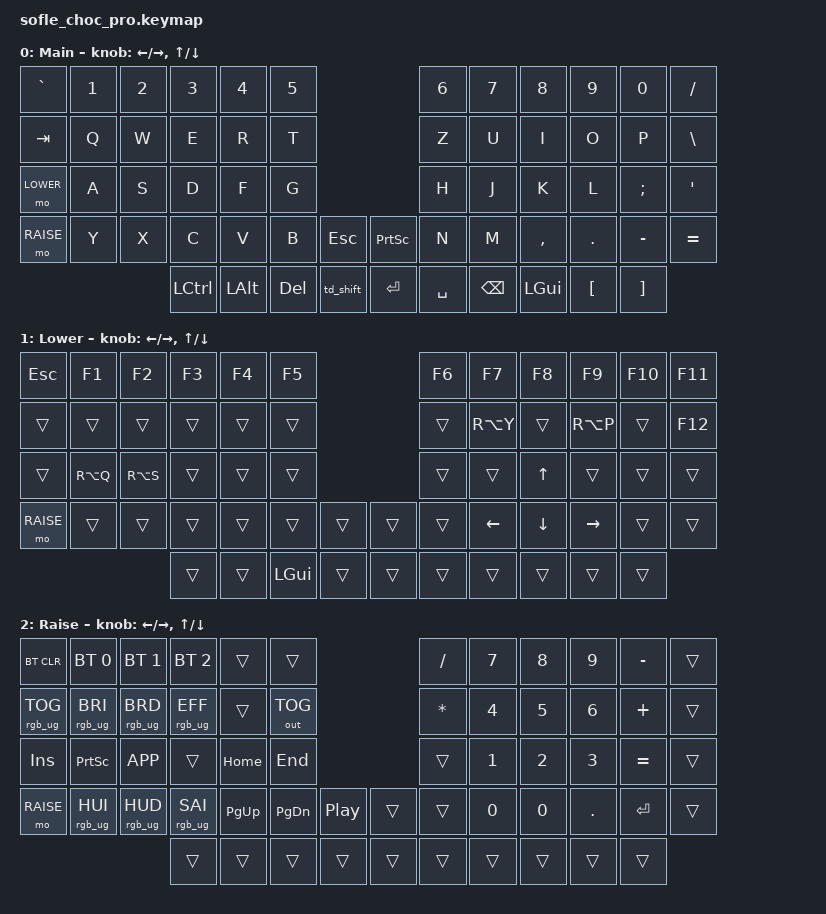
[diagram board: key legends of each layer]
/*
 * Sofle Choc — QWERTZ keymap for nice!nano v2
 *
 * Layers:
 *   0: DEFAULT — QWERTZ base with US-International for umlauts
 *   1: LOWER   — F-keys, umlauts (ä ö ü ß), arrow keys
 *   2: RAISE   — Bluetooth, system controls, numpad
 *
 * Build:
 *   nix develop /home/leon/nix#zmk
 *   cd ~/nix/zmk-config && west init -l config && west update
 *   west build -s zmk/app -b nice_nano_v2 -- -DSHIELD=sofle_left  -DZMK_CONFIG="$(pwd)/config"
 *   west build -p -s zmk/app -b nice_nano_v2 -- -DSHIELD=sofle_right -DZMK_CONFIG="$(pwd)/config"
 */

#include <behaviors.dtsi>
#include <dt-bindings/zmk/keys.h>
#include <dt-bindings/zmk/bt.h>
#include <dt-bindings/zmk/outputs.h>
#include <dt-bindings/zmk/rgb.h>

#define DEFAULT 0
#define LOWER   1
#define RAISE   2

/ {
    behaviors {
        td_shift: td_shift {
            compatible = "zmk,behavior-tap-dance";
            #binding-cells = <0>;
            tapping-term-ms = <200>;
            bindings = <&sk LSHFT>, <&caps_word>;
        };
    };

    keymap {
        compatible = "zmk,keymap";

        default_layer {
            display-name = "Main";
            // ┌──────┬──────┬──────┬──────┬──────┬──────┐                     ┌──────┬──────┬──────┬──────┬──────┬──────┐
            // │  `   │  1   │  2   │  3   │  4   │  5   │                     │  6   │  7   │  8   │  9   │  0   │  -   │
            // ├──────┼──────┼──────┼──────┼──────┼──────┤                     ├──────┼──────┼──────┼──────┼──────┼──────┤
            // │ TAB  │  Q   │  W   │  E   │  R   │  T   │                     │  Z   │  U   │  I   │  O   │  P   │  =   │
            // ├──────┼──────┼──────┼──────┼──────┼──────┤                     ├──────┼──────┼──────┼──────┼──────┼──────┤
            // │LOWER │  A   │  S   │  D   │  F   │  G   │                     │  H   │  J   │  K   │  L   │  ;   │  '   │
            // ├──────┼──────┼──────┼──────┼──────┼──────┼──────┐       ┌──────┼──────┼──────┼──────┼──────┼──────┼──────┤
            // │RAISE │  Y   │  X   │  C   │  V   │  B   │ ESC  │       │PSCRN │  N   │  M   │  ,   │  .   │  /   │  \   │
            // └──────┴──────┴──────┼──────┼──────┼──────┼──────┼────┤  ├────┼──────┼──────┼──────┼──────┼──────┴──────┘
            //                      │LCTRL │ LALT │ DEL  │SHIFT │ ENT│  │SPC │ BSPC │SUPER │  [   │  ]   │
            //                      └──────┴──────┴──────┴──────┴────┘  └────┴──────┴──────┴──────┴──────┘
            //
            // Shift: tap = sticky shift, double tap = caps word, hold = shift
            // Encoders: L rotate = ←/→, L press = ESC | R rotate = ↑/↓, R press = PrtSc
            bindings = <
                &kp GRAVE  &kp N1 &kp N2 &kp N3    &kp N4   &kp N5                             &kp N6    &kp N7   &kp N8    &kp N9   &kp N0   &kp FSLH
                &kp TAB    &kp Q  &kp W  &kp E     &kp R    &kp T                              &kp Z     &kp U    &kp I     &kp O    &kp P    &kp BSLH
                &mo LOWER  &kp A  &kp S  &kp D     &kp F    &kp G                              &kp H     &kp J    &kp K     &kp L    &kp SEMI &kp SQT
                &mo RAISE  &kp Y  &kp X  &kp C     &kp V    &kp B    &kp ESC      &kp PSCRN    &kp N     &kp M    &kp COMMA &kp DOT  &kp MINUS &kp EQUAL
                                          &kp LCTRL &kp LALT &kp DEL  &td_shift    &kp RET      &kp SPACE &kp BSPC &kp LGUI  &kp LBKT &kp RBKT
            >;

            sensor-bindings = <&inc_dec_kp LEFT RIGHT &inc_dec_kp UP DOWN>;
        };

        lower_layer {
            display-name = "Lower";
            // ┌──────┬──────┬──────┬──────┬──────┬──────┐                  ┌──────┬──────┬──────┬──────┬──────┬──────┐
            // │ ESC  │  F1  │  F2  │  F3  │  F4  │  F5  │                  │  F6  │  F7  │  F8  │  F9  │ F10  │ F11  │
            // ├──────┼──────┼──────┼──────┼──────┼──────┤                  ├──────┼──────┼──────┼──────┼──────┼──────┤
            // │      │      │      │      │      │      │                  │      │  ü   │      │  ö   │      │      │
            // ├──────┼──────┼──────┼──────┼──────┼──────┤                  ├──────┼──────┼──────┼──────┼──────┼──────┤
            // │      │  ä   │  ß   │      │      │      │                  │      │      │  ↑   │      │      │      │
            // ├──────┼──────┼──────┼──────┼──────┼──────┼──────┐    ┌──────┼──────┼──────┼──────┼──────┼──────┼──────┤
            // │      │      │      │      │      │      │      │    │      │      │  ←   │  ↓   │  →   │      │      │
            // └──────┴──────┴──────┼──────┼──────┼──────┼──────┤    ├──────┼──────┼──────┼──────┼──────┴──────┴──────┘
            //                      │      │      │SUPER │      │    │      │      │      │      │      │      
            //                      └──────┴──────┴──────┴──────┘    └──────┴──────┴──────┴──────┴──────┘
            //
            // Umlauts via US-International: RALT+A=ä, RALT+S=ß, RALT+U=ü, RALT+O=ö
            // Encoders: same as default
            bindings = <
                &kp ESC &kp F1    &kp F2    &kp F3 &kp F4 &kp F5                         &kp F6 &kp F7    &kp F8   &kp F9    &kp F10   &kp F11
                &trans  &trans    &trans    &trans &trans &trans                            &trans &kp RA(Y) &trans   &kp RA(P) &trans    &kp F12
                &trans    &kp RA(Q) &kp RA(S) &trans &trans &trans                           &trans &trans    &kp UP   &trans    &trans    &trans
                &mo RAISE &trans    &trans    &trans &trans &trans  &trans       &trans        &trans &kp LEFT  &kp DOWN &kp RIGHT &trans    &trans
                                             &trans &trans &kp LGUI &trans       &trans        &trans &trans    &trans   &trans    &trans
            >;

            sensor-bindings = <&inc_dec_kp LEFT RIGHT &inc_dec_kp UP DOWN>;
        };

        raise_layer {
            display-name = "Raise";
            // ┌──────┬──────┬──────┬──────┬──────┬──────┐                    ┌──────┬──────┬──────┬──────┬──────┬──────┐
            // │BT CLR│ BT 0 │ BT 1 │ BT 2 │ BT 3 │ BT 4│                    │  /   │  7   │  8   │  9   │  -   │      │
            // ├──────┼──────┼──────┼──────┼──────┼──────┤                    ├──────┼──────┼──────┼──────┼──────┼──────┤
            // │      │      │      │      │      │O_TOG │                    │  *   │  4   │  5   │  6   │  +   │      │
            // ├──────┼──────┼──────┼──────┼──────┼──────┤                    ├──────┼──────┼──────┼──────┼──────┼──────┤
            // │ INS  │ PSCR │ MENU │      │ HOME │ END  │                    │      │  1   │  2   │  3   │  =   │      │
            // ├──────┼──────┼──────┼──────┼──────┼──────┼──────┐    ┌──────┼──────┼──────┼──────┼──────┼──────┼──────┤
            // │      │      │      │      │ PGUP │ PGDN │ P/P  │    │      │      │  0   │  0   │  .   │ ENT  │      │
            // └──────┴──────┴──────┼──────┼──────┼──────┼──────┤    ├──────┼──────┼──────┼──────┼──────┴──────┴──────┘
            //                      │      │      │      │      │    │      │      │      │      │      │      │
            //                      └──────┴──────┴──────┴──────┘    └──────┴──────┴──────┴──────┴──────┘
            //
            // Left: Bluetooth + system | Right: Numpad
            // Encoders: L rotate = vol, L press = play/pause | R rotate = scroll, R press = PrtSc
            bindings = <
                &bt BT_CLR &bt BT_SEL 0 &bt BT_SEL 1 &bt BT_SEL 2 &trans       &trans                    &kp FSLH  &kp N7 &kp N8 &kp N9  &kp MINUS &trans
                &rgb_ug RGB_TOG &rgb_ug RGB_BRI &rgb_ug RGB_BRD &rgb_ug RGB_EFF &trans &out OUT_TOG                        &kp ASTRK &kp N4 &kp N5 &kp N6  &kp PLUS  &trans
                &kp INS    &kp PSCRN    &kp K_APP    &trans       &kp HOME     &kp END                            &trans    &kp N1 &kp N2 &kp N3  &kp EQUAL &trans
                &mo RAISE  &rgb_ug RGB_HUI &rgb_ug RGB_HUD &rgb_ug RGB_SAI &kp PG_UP &kp PG_DN    &kp C_PP     &trans    &trans    &kp N0 &kp N0 &kp DOT &kp RET   &trans
                                                      &trans       &trans       &trans       &trans       &trans    &trans    &trans &trans &trans   &trans
            >;

            sensor-bindings = <&inc_dec_kp LEFT RIGHT &inc_dec_kp UP DOWN>;
        };
    };
};
